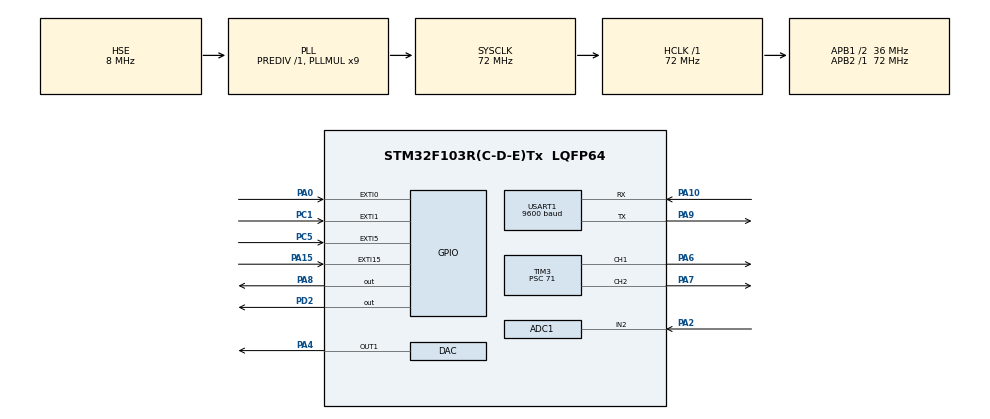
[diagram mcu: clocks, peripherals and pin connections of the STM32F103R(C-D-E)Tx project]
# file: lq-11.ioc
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ADC1.Channel-3\#ChannelRegularConversion=ADC_CHANNEL_2
ADC1.ContinuousConvMode=ENABLE
ADC1.NbrOfConversionFlag=1
ADC1.Rank-3\#ChannelRegularConversion=1
ADC1.SamplingTime-3\#ChannelRegularConversion=ADC_SAMPLETIME_1CYCLE_5
ADC1.master=1
Dma.ADC1.0.Direction=DMA_PERIPH_TO_MEMORY
Dma.ADC1.0.Instance=DMA1_Channel1
Dma.ADC1.0.MemDataAlignment=DMA_MDATAALIGN_HALFWORD
Dma.ADC1.0.MemInc=DMA_MINC_ENABLE
Dma.ADC1.0.Mode=DMA_NORMAL
Dma.ADC1.0.PeriphDataAlignment=DMA_PDATAALIGN_HALFWORD
Dma.ADC1.0.PeriphInc=DMA_PINC_DISABLE
Dma.ADC1.0.Priority=DMA_PRIORITY_LOW
Dma.Request0=ADC1
Mcu.Family=STM32F1
Mcu.Name=STM32F103R(C-D-E)Tx
Mcu.Package=LQFP64
NVIC.ADC1_2_IRQn=true\:0\:0\:false\:false\:true\:true\:true\:true
NVIC.DMA1_Channel1_IRQn=true\:0\:0\:false\:false\:true\:false\:true\:true
NVIC.EXTI0_IRQn=true\:1\:0\:true\:false\:true\:true\:true\:true
NVIC.EXTI15_10_IRQn=true\:1\:0\:true\:false\:true\:true\:true\:true
NVIC.EXTI1_IRQn=true\:1\:0\:true\:false\:true\:true\:true\:true
NVIC.EXTI9_5_IRQn=true\:1\:0\:true\:false\:true\:true\:true\:true
NVIC.PriorityGroup=NVIC_PRIORITYGROUP_4
NVIC.TIM3_IRQn=true\:0\:0\:false\:false\:true\:true\:true\:true
NVIC.USART1_IRQn=true\:0\:0\:false\:false\:true\:true\:true\:true
PA0-WKUP.GPIO_PuPd=GPIO_PULLDOWN
PA0-WKUP.Signal=GPXTI0
PA10.Mode=Asynchronous
PA10.Signal=USART1_RX
PA13.Mode=Serial_Wire
PA13.Signal=SYS_JTMS-SWDIO
PA14.Mode=Serial_Wire
PA14.Signal=SYS_JTCK-SWCLK
PA15.GPIO_ModeDefaultEXTI=GPIO_MODE_IT_FALLING
PA15.GPIO_PuPd=GPIO_PULLUP
PA15.Signal=GPXTI15
PA2.Signal=ADCx_IN2
PA4.Signal=COMP_DAC1_group
PA6.Signal=S_TIM3_CH1
PA7.Signal=S_TIM3_CH2
PA8.Signal=GPIO_Output
PA9.Mode=Asynchronous
PA9.Signal=USART1_TX
PC1.GPIO_ModeDefaultEXTI=GPIO_MODE_IT_FALLING
PC1.GPIO_PuPd=GPIO_PULLUP
PC1.Signal=GPXTI1
PC5.GPIO_ModeDefaultEXTI=GPIO_MODE_IT_FALLING
PC5.GPIO_PuPd=GPIO_PULLUP
PC5.Signal=GPXTI5
PD0-OSC_IN.Mode=HSE-External-Oscillator
PD0-OSC_IN.Signal=RCC_OSC_IN
PD1-OSC_OUT.Mode=HSE-External-Oscillator
PD1-OSC_OUT.Signal=RCC_OSC_OUT
PD2.Signal=GPIO_Output
ProjectManager.HeapSize=0x200
ProjectManager.StackSize=0x400
ProjectManager.TargetToolchain=MDK-ARM V5
RCC.ADCPresc=RCC_ADCPCLK2_DIV6
RCC.AHBFreq_Value=72000000
RCC.APB1CLKDivider=RCC_HCLK_DIV2
RCC.APB1Freq_Value=36000000
RCC.APB1TimFreq_Value=72000000
RCC.APB2Freq_Value=72000000
RCC.APB2TimFreq_Value=72000000
RCC.HCLKFreq_Value=72000000
RCC.PLLMUL=RCC_PLL_MUL9
RCC.PLLSourceVirtual=RCC_PLLSOURCE_HSE
RCC.SYSCLKFreq_VALUE=72000000
RCC.SYSCLKSource=RCC_SYSCLKSOURCE_PLLCLK
RCC.USBFreq_Value=72000000
SH.ADCx_IN2.0=ADC1_IN2,IN2
SH.COMP_DAC1_group.0=DAC_OUT1,DAC_OUT1
SH.S_TIM3_CH1.0=TIM3_CH1,PWM Generation1 CH1
SH.S_TIM3_CH2.0=TIM3_CH2,Output Compare2 CH2
TIM3.Channel-Output\ Compare2\ CH2=TIM_CHANNEL_2
TIM3.Channel-PWM\ Generation1\ CH1=TIM_CHANNEL_1
TIM3.OCMode_2=TIM_OCMODE_TOGGLE
TIM3.Period=9999
TIM3.Prescaler=71
USART1.BaudRate=9600
USART1.VirtualMode=VM_ASYNC
VP_TIM3_VS_ClockSourceINT.Mode=Internal
board=custom

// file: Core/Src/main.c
/* USER CODE BEGIN Header */
/**
  ******************************************************************************
  * @file           : main.c
  * @brief          : Main program body
  ******************************************************************************
  * @attention
  *
  * Copyright (c) 2023 STMicroelectronics.
  * All rights reserved.
  *
  * This software is licensed under terms that can be found in the LICENSE file
  * in the root directory of this software component.
  * If no LICENSE file comes with this software, it is provided AS-IS.
  *
  ******************************************************************************
  */
/* USER CODE END Header */
#include "main.h"
#include "adc.h"
#include "dac.h"
#include "dma.h"
#include "tim.h"
#include "usart.h"
#include "gpio.h"

/* USER CODE BEGIN Includes */
#include <stdbool.h>
#include <stdio.h>
#include <string.h>
#include "LCD/lcd.h"

/* USER CODE END Includes */

/* USER CODE BEGIN PD */

#define debug 0

#if debug

#include <time.h>

#endif

/* USER CODE END PD */

/* USER CODE BEGIN PM */

#define modeUpd() LCD_ShowString(100, 140, 100, 20, 16, (uint8_t *)(autoMode ? "AUTO" : "MANU"))

#define CCR1()  autoMode ? voltage / .4096 - 1 : (pa6Rate << 10) - (pa6Rate << 4) - (pa6Rate << 3) - 1

#define CCR20() autoMode ? (10 - voltage / 409.6) * 250 - 1 : (10 - pa7Rate) * 250 - 1

#define CCR21()  4999

#define CCR22() autoMode ? (30 - voltage / 409.6) * 250 - 1 : (30 - pa7Rate) * 250 - 1

#define CCR23()  9999

/* USER CODE END PM */

/* USER CODE BEGIN PV */

bool 			paraPage 	= false;
uint32_t	voltage		=	0; // of 4096
bool			autoMode	= true;
char			pa6Rate		= 1; // x10%
char 			pa7Rate		= 1; // x10%
char 			buf[32]		= {0};
uint32_t 	adcBuf		= 0;
char 			pa7Step		= 0;

/* USER CODE END PV */

void SystemClock_Config(void);
/* USER CODE BEGIN PFP */

extern void delay_init(uint8_t);
void HAL_GPIO_EXTI_Callback(uint16_t);
//void HAL_ADC_ConvCpltCallback(ADC_HandleTypeDef* hadc);
void HAL_TIM_OC_DelayElapsedCallback(TIM_HandleTypeDef *htim);
//void HAL_TIM_PeriodElapsedCallback(TIM_HandleTypeDef *htim);
//void HAL_TIM_PeriodElapsedHalfCpltCallback(TIM_HandleTypeDef *htim);
void rerender(void);
void voltUpd(void);
void pa6Upd(void);
void pa7Upd(void);

/* USER CODE END PFP */

int main(void)
{

  /* MCU Configuration--------------------------------------------------------*/

  /* Reset of all peripherals, Initializes the Flash interface and the Systick. */
  HAL_Init();

  /* Configure the system clock */
  SystemClock_Config();

  /* Initialize all configured peripherals */
  MX_GPIO_Init();
  MX_DMA_Init();
  MX_ADC1_Init();
  MX_TIM3_Init();
  MX_USART1_UART_Init();
  MX_DAC_Init();
  /* USER CODE BEGIN 2 */

	HAL_ADCEx_Calibration_Start(&hadc1);
	HAL_ADC_Start_DMA(&hadc1, &adcBuf, 1);

	HAL_DAC_Start(&hdac, DAC_CHANNEL_1);
	HAL_DAC_SetValue(&hdac, DAC_CHANNEL_1, DAC_ALIGN_12B_R, 1024);

	delay_init(72);
	LCD_Init();
	BACK_COLOR = BLACK;
	POINT_COLOR = WHITE;
	rerender();

	HAL_GPIO_WritePin(GPIOD, GPIO_PIN_2, GPIO_PIN_RESET);
	HAL_GPIO_WritePin(GPIOA, GPIO_PIN_8, GPIO_PIN_RESET);
  /* USER CODE END 2 */

  /* Infinite loop */
  /* USER CODE BEGIN WHILE */
#if debug
	int clk;
	int cnt;
	bool in = false;
#endif
  while (1)
  {
#if debug
		clk = clock();
		if(clk >= 2 * CLOCKS_PER_SEC) {
			if(in) {
				LCD_ShowNum(160, 20, clk * 1000 / CLOCKS_PER_SEC, 4, 16);
				in = false;
			}
		}
		else if(clk >= CLOCKS_PER_SEC) {
			if(!in) {
				LCD_ShowNum(160, 20, clk * 1000 / CLOCKS_PER_SEC, 4, 16);
				in = true;
			}
			LCD_ShowNum(160, 40, ++cnt, 5, 16);
		}
#endif
		voltage = adcBuf;
		if(autoMode) {
			__HAL_TIM_SetCompare(&htim3, TIM_CHANNEL_1, CCR1());
		}
		if(!paraPage) voltUpd();
		HAL_ADC_Start_DMA(&hadc1, &adcBuf, 1);
    /* USER CODE END WHILE */

  }
}

void SystemClock_Config(void)
{
  RCC_OscInitTypeDef RCC_OscInitStruct = {0};
  RCC_ClkInitTypeDef RCC_ClkInitStruct = {0};
  RCC_PeriphCLKInitTypeDef PeriphClkInit = {0};

  /** Initializes the RCC Oscillators according to the specified parameters
  * in the RCC_OscInitTypeDef structure.
  */
  RCC_OscInitStruct.OscillatorType = RCC_OSCILLATORTYPE_HSE;
  RCC_OscInitStruct.HSEState = RCC_HSE_ON;
  RCC_OscInitStruct.HSEPredivValue = RCC_HSE_PREDIV_DIV1;
  RCC_OscInitStruct.HSIState = RCC_HSI_ON;
  RCC_OscInitStruct.PLL.PLLState = RCC_PLL_ON;
  RCC_OscInitStruct.PLL.PLLSource = RCC_PLLSOURCE_HSE;
  RCC_OscInitStruct.PLL.PLLMUL = RCC_PLL_MUL9;
  if (HAL_RCC_OscConfig(&RCC_OscInitStruct) != HAL_OK)
  {
    Error_Handler();
  }

  /** Initializes the CPU, AHB and APB buses clocks
  */
  RCC_ClkInitStruct.ClockType = RCC_CLOCKTYPE_HCLK|RCC_CLOCKTYPE_SYSCLK
                              |RCC_CLOCKTYPE_PCLK1|RCC_CLOCKTYPE_PCLK2;
  RCC_ClkInitStruct.SYSCLKSource = RCC_SYSCLKSOURCE_PLLCLK;
  RCC_ClkInitStruct.AHBCLKDivider = RCC_SYSCLK_DIV1;
  RCC_ClkInitStruct.APB1CLKDivider = RCC_HCLK_DIV2;
  RCC_ClkInitStruct.APB2CLKDivider = RCC_HCLK_DIV1;

  if (HAL_RCC_ClockConfig(&RCC_ClkInitStruct, FLASH_LATENCY_2) != HAL_OK)
  {
    Error_Handler();
  }
  PeriphClkInit.PeriphClockSelection = RCC_PERIPHCLK_ADC;
  PeriphClkInit.AdcClockSelection = RCC_ADCPCLK2_DIV6;
  if (HAL_RCCEx_PeriphCLKConfig(&PeriphClkInit) != HAL_OK)
  {
    Error_Handler();
  }
}

/* USER CODE BEGIN 4 */

void HAL_GPIO_EXTI_Callback(uint16_t pin) {
	switch(pin) {
		case GPIO_PIN_0: //interface
			HAL_Delay(20);
			if(HAL_GPIO_ReadPin(GPIOA, GPIO_PIN_0) != GPIO_PIN_SET) return;
			paraPage = ! paraPage;
			HAL_GPIO_WritePin(GPIOA, GPIO_PIN_8, paraPage ? GPIO_PIN_SET : GPIO_PIN_RESET);
			rerender();
			break;
		case GPIO_PIN_5: //pa6 +
			if(!paraPage) return;
			HAL_Delay(20);
			if(HAL_GPIO_ReadPin(GPIOC, GPIO_PIN_5) != GPIO_PIN_RESET) return;
			if(pa6Rate == 9) {
				pa6Rate = 1;
				if(!autoMode) __HAL_TIM_SetCompare(&htim3, TIM_CHANNEL_1, CCR1());
				//__HAL_TIM_SetCompare(&htim3, TIM_CHANNEL_1, pa6Rate * 1000);
				pa6Upd();
				break;
			}
			++pa6Rate;
			__HAL_TIM_SetCompare(&htim3, TIM_CHANNEL_1, (pa6Rate << 10) - (pa6Rate << 4) - (pa6Rate << 3) - 1);
			//__HAL_TIM_SetCompare(&htim3, TIM_CHANNEL_1, pa6Rate * 1000);
			pa6Upd();
			break;
		case GPIO_PIN_15://pa7 +
			if(!paraPage) return;
			HAL_Delay(20);
			if(HAL_GPIO_ReadPin(GPIOA, GPIO_PIN_15) != GPIO_PIN_RESET) return;
			if(pa7Rate == 9) {
				pa7Rate = 1;
				pa7Upd();   //pa7 does not require updating CCR2 through a function as it is manually controlled
				break;
			}
			++pa7Rate;
			pa7Upd();
			break;
		case GPIO_PIN_1: //mode
			HAL_Delay(20);
			if(HAL_GPIO_ReadPin(GPIOC, GPIO_PIN_1) != GPIO_PIN_RESET) return;
			autoMode = !autoMode;
			modeUpd();
			HAL_GPIO_WritePin(GPIOD, GPIO_PIN_2, autoMode ? GPIO_PIN_RESET : GPIO_PIN_SET);
			break;
	}
}

void HAL_TIM_OC_DelayElapsedCallback(TIM_HandleTypeDef *htim) {
	switch(pa7Step) {
		case 0: //+
			__HAL_TIM_SetCompare(&htim3, TIM_CHANNEL_2, CCR20());
			++pa7Step;
			break;
		case 1: //-
			__HAL_TIM_SetCompare(&htim3, TIM_CHANNEL_2, CCR21());
			++pa7Step;
			break;
		case 2: //+
			__HAL_TIM_SetCompare(&htim3, TIM_CHANNEL_2, CCR22());
			++pa7Step;
			break;
		case 3: //-
			__HAL_TIM_SetCompare(&htim3, TIM_CHANNEL_2, CCR23());
			pa7Step = 0;
			break;
	}
}

inline void rerender() {
	LCD_Clear(BLACK);
	if(paraPage) {
		LCD_ShowString(100, 100, 100, 20, 16, (uint8_t *)"Para");
		LCD_ShowString( 20, 120, 100, 20, 16, (uint8_t *)"PA6:");
		LCD_ShowString( 20, 140, 100, 20, 16, (uint8_t *)"PA7:");
		pa6Upd();
		pa7Upd();
		return;
	}
	LCD_ShowString(100, 100, 100, 20, 16, (uint8_t *)"Data");
	LCD_ShowString( 20, 120, 100, 20, 16, (uint8_t *)"V:");
	LCD_ShowString( 20, 140, 100, 20, 16, (uint8_t *)"Mode:");
	voltUpd();
	modeUpd();
}

inline void voltUpd() {
	sprintf(buf, "%.2fV", voltage * 3.3 / 4096);
	LCD_ShowString( 50, 120, 100, 20, 16, (uint8_t *)buf);
	memset(buf, 0, 32);
}

inline void pa6Upd() {
	LCD_ShowNum(100, 120, pa6Rate, 1, 16);
	LCD_ShowString(116, 120, 100, 20, 16, (uint8_t *)"0%");
}

inline void pa7Upd() {
	LCD_ShowNum(100, 140, pa7Rate, 1, 16);
	LCD_ShowString(116, 140, 100, 20, 16, (uint8_t *)"0%");
}

/* USER CODE END 4 */

void Error_Handler(void)
{
  __disable_irq();
  while (1)
  {
  }
}
